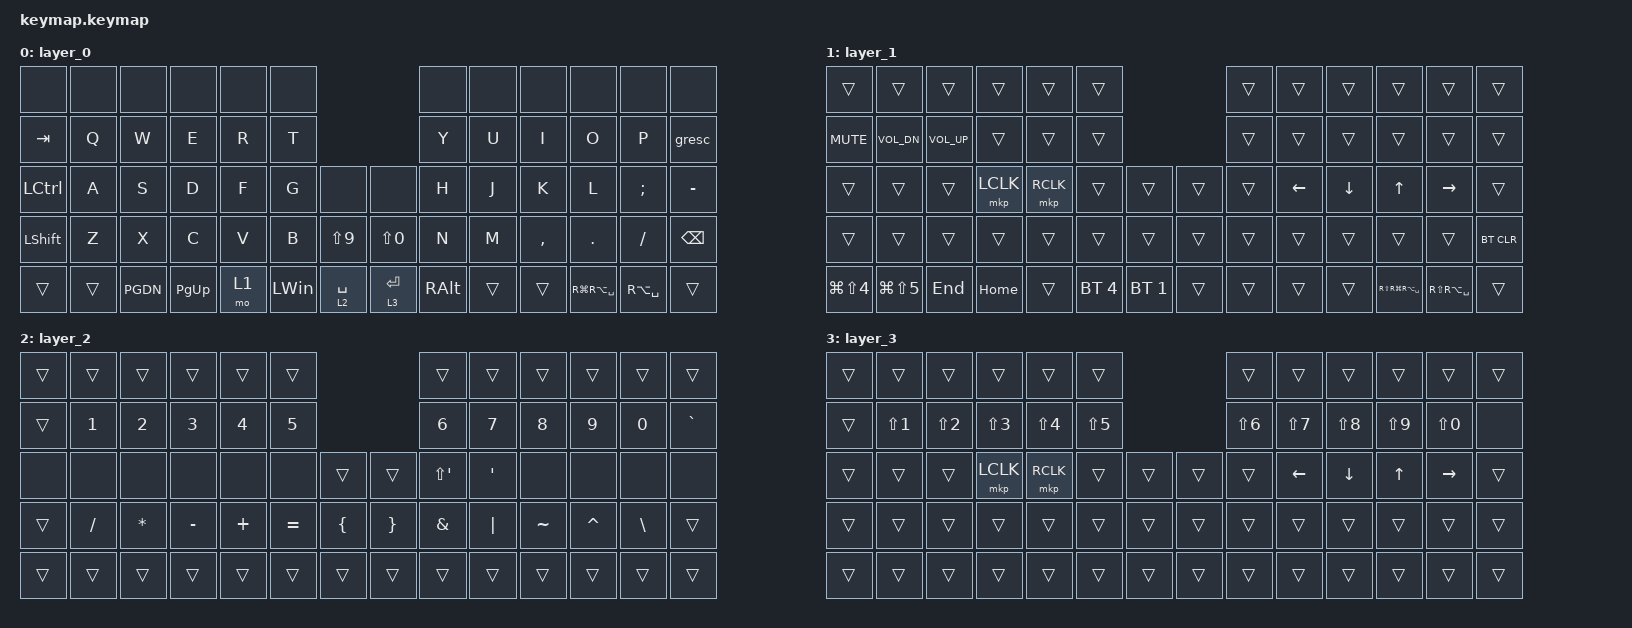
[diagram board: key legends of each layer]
#include <behaviors.dtsi>
#include <dt-bindings/zmk/bt.h>
#include <dt-bindings/zmk/keys.h>
#include <dt-bindings/zmk/outputs.h>
#include <dt-bindings/zmk/pointing.h>

/ {
    keymap {
        compatible = "zmk,keymap";

        layer_0 {
            bindings = <
&none     &none  &none    &none     &none &none                           &none    &none  &none     &none             &none         &none
&kp TAB   &kp Q  &kp W    &kp E     &kp R &kp T                           &kp Y    &kp U  &kp I     &kp O             &kp P         &gresc
&kp LCTRL &kp A  &kp S    &kp D     &kp F &kp G    &none       &none      &kp H    &kp J  &kp K     &kp L             &kp SEMI      &kp MINUS
&kp LSHFT &kp Z  &kp X    &kp C     &kp V &kp B    &kp LS(N9)  &kp LS(N0) &kp N    &kp M  &kp COMMA &kp DOT           &kp FSLH      &kp BSPC
&trans    &trans &kp PGDN &kp PG_UP &mo 1 &kp LWIN &lt 2 SPACE &lt 3 RET  &kp RALT &trans &trans    &kp RG(RA(SPACE)) &kp RA(SPACE) &trans
            >;
        };

        layer_1 {
            bindings = <
&trans         &trans         &trans       &trans     &trans     &trans                             &trans  &trans     &trans     &trans                &trans            &trans
&kp C_MUTE     &kp C_VOL_DN   &kp C_VOL_UP &trans     &trans     &trans                             &trans  &trans     &trans     &trans                &trans            &trans
&trans         &trans         &trans       &mkp LCLK  &mkp RCLK  &trans       &trans        &trans  &trans  &kp LEFT   &kp DOWN   &kp UP                &kp RIGHT         &trans
&trans         &trans         &trans       &trans     &trans     &trans       &trans        &trans  &trans  &trans     &trans     &trans                &trans            &bt BT_CLR
&kp LG(LS(N4)) &kp LG(LS(N5)) &kp END      &kp HOME   &trans     &bt BT_SEL 4 &bt BT_SEL 1  &trans  &trans  &trans     &trans     &kp RS(RG(RA(SPACE))) &kp RS(RA(SPACE)) &trans
            >;
        };

        layer_2 {
            bindings = <
&trans  &trans     &trans   &trans    &trans   &trans                      &trans      &trans   &trans    &trans    &trans         &trans
&trans  &kp N1     &kp N2   &kp N3    &kp N4   &kp N5                      &kp N6      &kp N7   &kp N8    &kp N9    &kp N0         &kp GRAVE
&none   &none      &none    &none     &none    &none     &trans   &trans   &kp LS(SQT) &kp SQT  &none     &none     &none          &none
&trans  &kp SLASH  &kp STAR &kp MINUS &kp PLUS &kp EQUAL &kp LBRC &kp RBRC &kp AMPS    &kp PIPE &kp TILDE &kp CARET &kp BACKSLASH  &trans
&trans  &trans     &trans   &trans    &trans   &trans    &trans   &trans   &trans      &trans   &trans    &trans    &trans         &trans
            >;
        };

        layer_3 {
            bindings = <
&trans  &trans     &trans     &trans     &trans     &trans                   &trans     &trans     &trans     &trans     &trans     &trans
&trans  &kp LS(N1) &kp LS(N2) &kp LS(N3) &kp LS(N4) &kp LS(N5)               &kp LS(N6) &kp LS(N7) &kp LS(N8) &kp LS(N9) &kp LS(N0) &none
&trans  &trans     &trans     &mkp LCLK  &mkp RCLK  &trans     &trans &trans &trans     &kp LEFT   &kp DOWN   &kp UP     &kp RIGHT  &trans
&trans  &trans     &trans     &trans     &trans     &trans     &trans &trans &trans     &trans     &trans     &trans     &trans     &trans
&trans  &trans     &trans     &trans     &trans     &trans     &trans &trans &trans     &trans     &trans     &trans     &trans     &trans
            >;
        };
    };
};
